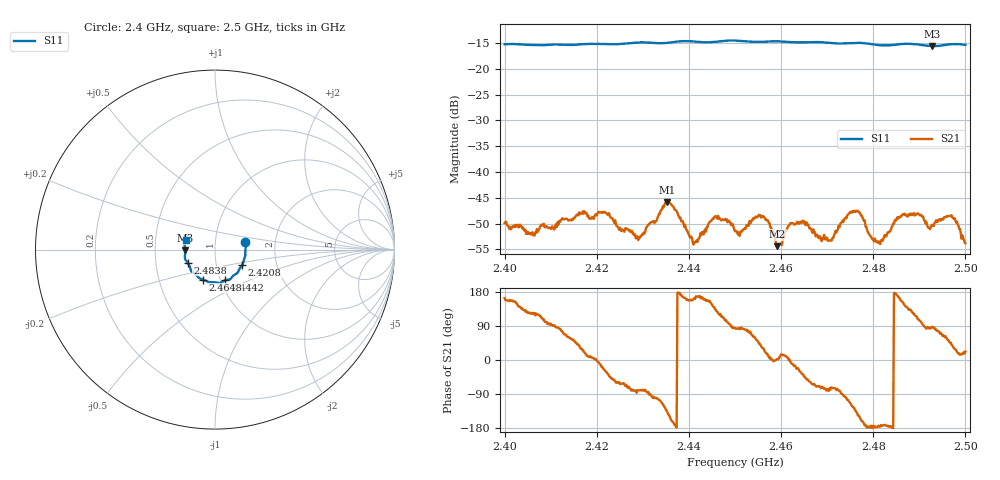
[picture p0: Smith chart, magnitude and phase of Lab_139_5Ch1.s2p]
# Hz S RI R
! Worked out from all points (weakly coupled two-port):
!   601 points, 2.4 GHz to 2.5 GHz, reference 50 ohm
!   highest |S21| = -45.86 dB at 2.4353 GHz (marker M1); lowest = -54.4 dB at 2.4592 GHz (marker M2)
!   lowest |S11| = -15.6 dB at 2.4928 GHz (marker M3), VSWR 1.40, Z = 35.8 - j0.365 ohm
!   |S11| at or under -10 dB: start of sweep to end of sweep
!   S12 and S22 are empty: the file has one direction only
!   S11 on the Smith chart (normalised r, x): 2.4 GHz: 1.40, +0.12; 2.4208 GHz: 1.33, -0.24; 2.4442 GHz: 1.05, -0.37; 2.4648 GHz: 0.83, -0.29; 2.4838 GHz: 0.73, -0.11; 2.5 GHz: 0.72, +0.08
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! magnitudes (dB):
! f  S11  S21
! 2.4 GHz  -15.2  -49.9
! 2.406 GHz  -15.4  -51.7
! 2.4167 GHz  -15.2  -48.0
! 2.4208 GHz  -15.2  -47.8
! 2.429 GHz  -14.9  -53.2
! 2.4333 GHz  -15.0  -48.6
! 2.4353 GHz  -15.0  -45.9
! 2.4413 GHz  -14.7  -53.6
! 2.4442 GHz  -14.9  -50.2
! 2.45 GHz  -14.5  -51.5
! 2.4557 GHz  -14.8  -48.8
! 2.4592 GHz  -14.7  -54.4
! 2.4648 GHz  -14.9  -49.8
! 2.4667 GHz  -14.8  -51.4
! 2.4707 GHz  -15.0  -53.3
! 2.4763 GHz  -15.0  -47.5
! 2.4803 GHz  -15.3  -52.9
! 2.4833 GHz  -15.5  -51.7
! 2.4838 GHz  -15.4  -51.2
! 2.4928 GHz  -15.6  -50.2
! 2.4972 GHz  -15.2  -48.8
! 2.5 GHz  -15.4  -53.8
